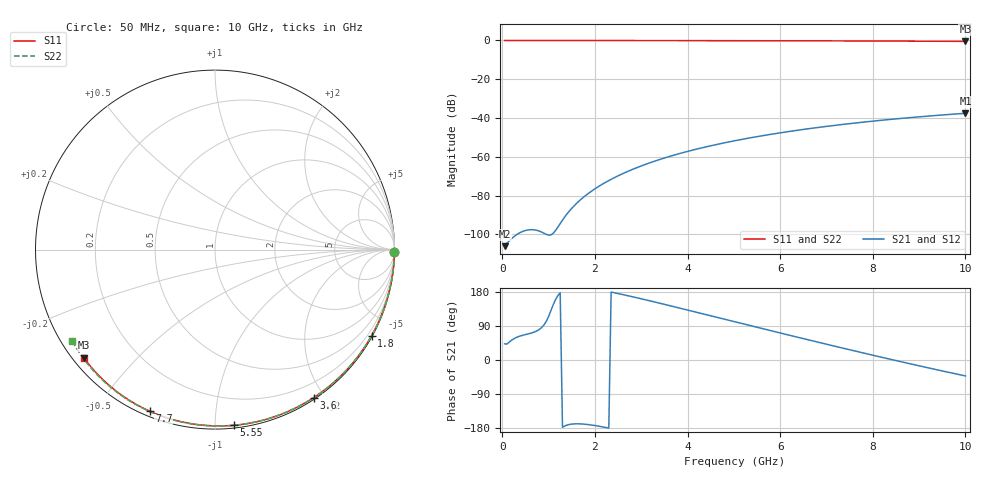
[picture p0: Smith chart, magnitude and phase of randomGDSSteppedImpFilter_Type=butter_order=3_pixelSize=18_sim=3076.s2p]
! freq	dB(S11)	phase(S11)	dB(S12)	phase(S12)
!  dB(S21)	phase(S21)	dB(S22)	phase(S22)
!S-par simulation data
#  GHz  S  DB  R 50
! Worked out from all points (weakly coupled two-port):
!   200 points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, 50 MHz to 10 GHz, reference 50 ohm
!   highest |S21| = -37.56 dB at 10 GHz (marker M1); lowest = -106.1 dB at 50 MHz (marker M2)
!   lowest |S11| = -0.5 dB at 10 GHz (marker M3), VSWR 36.70, Z = 1.54 - j17.9 ohm
!   |S11| at or under -10 dB: nowhere
!   |S22| runs from -0.5 to 0.0 dB; largest |S21 - S12| = 0
!   S11 on the Smith chart (normalised r, x): 50 MHz: open; 1.8 GHz: 0.03, -3.89; 3.6 GHz: 0.02, -1.87; 5.55 GHz: 0.02, -1.11; 7.7 GHz: 0.02, -0.67; 10 GHz: 0.03, -0.36
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0.05  -0.00 -0.8  -106.14 42.6  -106.14 42.6  -0.00 -0.9
0.45  -0.01 -7.3  -98.44 65.6  -98.44 65.6  -0.01 -7.7
0.9  -0.02 -14.6  -99.47 92.6  -99.47 92.6  -0.02 -15.3
1.3  -0.03 -20.9  -92.65 -177.6  -92.65 -177.6  -0.03 -22.0
1.75  -0.04 -28.0  -80.94 -169.1  -80.94 -169.1  -0.04 -29.4
1.8  -0.04 -28.8  -79.98 -169.7  -79.98 -169.7  -0.04 -30.3
1.95  -0.04 -31.2  -77.35 -172.0  -77.35 -172.0  -0.04 -32.7
2.1  -0.04 -33.5  -75.03 -174.9  -75.03 -174.9  -0.04 -35.2
2.3  -0.05 -36.6  -72.28 -179.5  -72.28 -179.5  -0.05 -38.4
2.5  -0.05 -39.7  -69.84 175.4  -69.84 175.4  -0.05 -41.6
2.9  -0.06 -45.8  -65.67 164.4  -65.67 164.4  -0.06 -48.0
3.4  -0.07 -53.3  -61.41 149.9  -61.41 149.9  -0.07 -55.9
3.6  -0.08 -56.3  -59.92 143.9  -59.92 143.9  -0.08 -59.0
4.3  -0.09 -66.5  -55.45 122.7  -55.45 122.7  -0.10 -69.6
5.05  -0.12 -77.1  -51.60 100.0  -51.60 100.0  -0.12 -80.7
5.55  -0.14 -83.9  -49.41 84.8  -49.41 84.8  -0.14 -87.8
6.1  -0.16 -91.3  -47.30 68.3  -47.30 68.3  -0.17 -95.5
6.7  -0.19 -99.2  -45.26 50.5  -45.26 50.5  -0.20 -103.8
7.7  -0.26 -112.1  -42.38 21.3  -42.38 21.3  -0.27 -117.1
8.35  -0.31 -120.2  -40.80 2.7  -40.80 2.7  -0.32 -125.7
9.2  -0.39 -130.7  -39.01 -20.8  -39.01 -20.8  -0.40 -136.8
10  -0.47 -140.6  -37.56 -42.0  -37.56 -42.0  -0.49 -147.3
